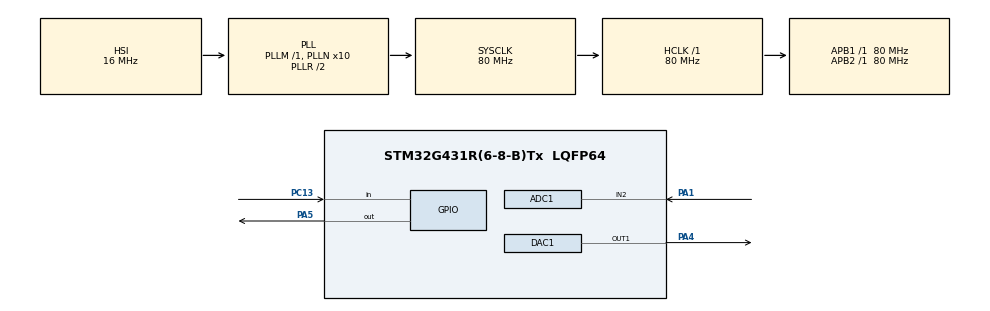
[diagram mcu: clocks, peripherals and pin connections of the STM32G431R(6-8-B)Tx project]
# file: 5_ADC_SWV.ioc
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ADC1.Channel-0\#ChannelRegularConversion=ADC_CHANNEL_2
ADC1.ClockPrescaler=ADC_CLOCK_SYNC_PCLK_DIV4
ADC1.ContinuousConvMode=ENABLE
ADC1.NbrOfConversionFlag=1
ADC1.OffsetNumber-0\#ChannelRegularConversion=ADC_OFFSET_NONE
ADC1.Rank-0\#ChannelRegularConversion=1
ADC1.SamplingTime-0\#ChannelRegularConversion=ADC_SAMPLETIME_2CYCLES_5
ADC1.master=1
DAC1.DAC_Trigger_OUT1-DAC_OUT1=DAC_TRIGGER_T6_TRGO
DAC1.TriangleAmplitude_OUT1-DAC_OUT1=DAC_TRIANGLEAMPLITUDE_1023
DAC1.WaveGeneration_OUT1-DAC_OUT1=TriangleWaveGeneration
Dma.ADC1.0.Direction=DMA_PERIPH_TO_MEMORY
Dma.ADC1.0.EventEnable=DISABLE
Dma.ADC1.0.Instance=DMA1_Channel1
Dma.ADC1.0.MemDataAlignment=DMA_MDATAALIGN_HALFWORD
Dma.ADC1.0.MemInc=DMA_MINC_ENABLE
Dma.ADC1.0.Mode=DMA_NORMAL
Dma.ADC1.0.PeriphDataAlignment=DMA_PDATAALIGN_HALFWORD
Dma.ADC1.0.PeriphInc=DMA_PINC_DISABLE
Dma.ADC1.0.Polarity=HAL_DMAMUX_REQ_GEN_RISING
Dma.ADC1.0.Priority=DMA_PRIORITY_LOW
Dma.ADC1.0.RequestNumber=1
Dma.ADC1.0.SignalID=NONE
Dma.ADC1.0.SyncEnable=DISABLE
Dma.ADC1.0.SyncPolarity=HAL_DMAMUX_SYNC_NO_EVENT
Dma.ADC1.0.SyncRequestNumber=1
Dma.ADC1.0.SyncSignalID=NONE
Dma.Request0=ADC1
Mcu.Family=STM32G4
Mcu.Name=STM32G431R(6-8-B)Tx
Mcu.Package=LQFP64
NVIC.DMA1_Channel1_IRQn=true\:0\:0\:false\:false\:true\:false\:true\:true
NVIC.PriorityGroup=NVIC_PRIORITYGROUP_4
PA1.Mode=IN2-Single-Ended
PA1.Signal=ADC1_IN2
PA13.Mode=Trace_Asynchronous_SW
PA13.Signal=SYS_JTMS-SWDIO
PA14.Mode=Trace_Asynchronous_SW
PA14.Signal=SYS_JTCK-SWCLK
PA4.Signal=COMP_DAC11_group
PA5.Signal=GPIO_Output
PB3.Mode=Trace_Asynchronous_SW
PB3.Signal=SYS_JTDO-SWO
PC13.Signal=GPIO_Input
ProjectManager.HeapSize=0x200
ProjectManager.StackSize=0x400
ProjectManager.TargetToolchain=STM32CubeIDE
RCC.ADC12Freq_Value=80000000
RCC.AHBFreq_Value=80000000
RCC.APB1Freq_Value=80000000
RCC.APB1TimFreq_Value=80000000
RCC.APB2Freq_Value=80000000
RCC.APB2TimFreq_Value=80000000
RCC.CortexFreq_Value=80000000
RCC.EXTERNAL_CLOCK_VALUE=12288000
RCC.HCLKFreq_Value=80000000
RCC.HSE_VALUE=8000000
RCC.HSI48_VALUE=48000000
RCC.HSI_VALUE=16000000
RCC.LSE_VALUE=32768
RCC.PLLN=10
RCC.SYSCLKFreq_VALUE=80000000
RCC.SYSCLKSource=RCC_SYSCLKSOURCE_PLLCLK
RCC.USBFreq_Value=80000000
RCC.VCOOutputFreq_Value=160000000
SH.COMP_DAC11_group.0=DAC1_OUT1,DAC_OUT1
TIM6.PeriodNoDither=9
TIM6.TIM_MasterOutputTrigger=TIM_TRGO_UPDATE
VP_TIM6_VS_ClockSourceINT.Mode=Enable_Timer
board=custom

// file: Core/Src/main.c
/* USER CODE BEGIN Header */
/**
  ******************************************************************************
  * @file           : main.c
  * @brief          : Main program body
  ******************************************************************************
  * @attention
  *
  * Copyright (c) 2023 STMicroelectronics.
  * All rights reserved.
  *
  * This software is licensed under terms that can be found in the LICENSE file
  * in the root directory of this software component.
  * If no LICENSE file comes with this software, it is provided AS-IS.
  *
  ******************************************************************************
  */
/* USER CODE END Header */
#include "main.h"

ADC_HandleTypeDef hadc1;
DMA_HandleTypeDef hdma_adc1;

DAC_HandleTypeDef hdac1;

TIM_HandleTypeDef htim6;

/* USER CODE BEGIN PV */
volatile uint32_t ADC_ConvCpltFlag;
volatile uint16_t ADC_monitor;
uint16_t ADC_buff[4096];

/* USER CODE END PV */

void SystemClock_Config(void);
static void MX_GPIO_Init(void);
static void MX_DMA_Init(void);
static void MX_ADC1_Init(void);
static void MX_DAC1_Init(void);
static void MX_TIM6_Init(void);

/* USER CODE BEGIN 0 */
static void DAC_Ch1_Start(void)
{
  /* Enable DAC channel 2 */
  if(HAL_DAC_Start(&hdac1, DAC_CHANNEL_1) != HAL_OK){
    Error_Handler();
  }

  /* Set DAC channel 2 DHR12RD register */
  if(HAL_DAC_SetValue(&hdac1, DAC_CHANNEL_1, DAC_ALIGN_12B_R, 0x100) != HAL_OK){
    Error_Handler();
  }

  /* Enable TIM peripheral */
  HAL_TIM_Base_Start(&htim6);
}

/* USER CODE END 0 */

int main(void)
{
  /* USER CODE BEGIN 1 */
	uint16_t tmp;

  /* USER CODE END 1 */

  /* MCU Configuration--------------------------------------------------------*/

  /* Reset of all peripherals, Initializes the Flash interface and the Systick. */
  HAL_Init();

  /* Configure the system clock */
  SystemClock_Config();

  /* Initialize all configured peripherals */
  MX_GPIO_Init();
  MX_DMA_Init();
  MX_ADC1_Init();
  MX_DAC1_Init();
  MX_TIM6_Init();
  /* USER CODE BEGIN 2 */
  DAC_Ch1_Start();

  /* USER CODE END 2 */

  /* Infinite loop */
  /* USER CODE BEGIN WHILE */
  while (1)
  {
	  while(HAL_GPIO_ReadPin(GPIOC, GPIO_PIN_13) == GPIO_PIN_RESET){
	    HAL_GPIO_TogglePin(GPIOA, GPIO_PIN_5);
	    HAL_Delay(100);
	  }
	  HAL_GPIO_WritePin(GPIOA, GPIO_PIN_5, GPIO_PIN_RESET);

	  /* Start ADC conversion from PA1 */
	  HAL_ADC_Start_DMA(&hadc1, (uint32_t*)ADC_buff, 4096);
	  while(ADC_ConvCpltFlag == 0);
	  ADC_ConvCpltFlag = 0;

	  /* Display ADC_monitor value using SWV data trace */
	  for(tmp=0;tmp<4096;tmp++){
	    ADC_monitor = *((uint16_t*)ADC_buff+tmp);
	    HAL_Delay(1);
	  }

    /* USER CODE END WHILE */

  }
}

void SystemClock_Config(void)
{
  RCC_OscInitTypeDef RCC_OscInitStruct = {0};
  RCC_ClkInitTypeDef RCC_ClkInitStruct = {0};

  /** Configure the main internal regulator output voltage
  */
  HAL_PWREx_ControlVoltageScaling(PWR_REGULATOR_VOLTAGE_SCALE1);

  /** Initializes the RCC Oscillators according to the specified parameters
  * in the RCC_OscInitTypeDef structure.
  */
  RCC_OscInitStruct.OscillatorType = RCC_OSCILLATORTYPE_HSI;
  RCC_OscInitStruct.HSIState = RCC_HSI_ON;
  RCC_OscInitStruct.HSICalibrationValue = RCC_HSICALIBRATION_DEFAULT;
  RCC_OscInitStruct.PLL.PLLState = RCC_PLL_ON;
  RCC_OscInitStruct.PLL.PLLSource = RCC_PLLSOURCE_HSI;
  RCC_OscInitStruct.PLL.PLLM = RCC_PLLM_DIV1;
  RCC_OscInitStruct.PLL.PLLN = 10;
  RCC_OscInitStruct.PLL.PLLP = RCC_PLLP_DIV2;
  RCC_OscInitStruct.PLL.PLLQ = RCC_PLLQ_DIV2;
  RCC_OscInitStruct.PLL.PLLR = RCC_PLLR_DIV2;
  if (HAL_RCC_OscConfig(&RCC_OscInitStruct) != HAL_OK)
  {
    Error_Handler();
  }

  /** Initializes the CPU, AHB and APB buses clocks
  */
  RCC_ClkInitStruct.ClockType = RCC_CLOCKTYPE_HCLK|RCC_CLOCKTYPE_SYSCLK
                              |RCC_CLOCKTYPE_PCLK1|RCC_CLOCKTYPE_PCLK2;
  RCC_ClkInitStruct.SYSCLKSource = RCC_SYSCLKSOURCE_PLLCLK;
  RCC_ClkInitStruct.AHBCLKDivider = RCC_SYSCLK_DIV1;
  RCC_ClkInitStruct.APB1CLKDivider = RCC_HCLK_DIV1;
  RCC_ClkInitStruct.APB2CLKDivider = RCC_HCLK_DIV1;

  if (HAL_RCC_ClockConfig(&RCC_ClkInitStruct, FLASH_LATENCY_2) != HAL_OK)
  {
    Error_Handler();
  }
}

static void MX_ADC1_Init(void)
{

  ADC_MultiModeTypeDef multimode = {0};
  ADC_ChannelConfTypeDef sConfig = {0};

  /** Common config
  */
  hadc1.Instance = ADC1;
  hadc1.Init.ClockPrescaler = ADC_CLOCK_SYNC_PCLK_DIV4;
  hadc1.Init.Resolution = ADC_RESOLUTION_12B;
  hadc1.Init.DataAlign = ADC_DATAALIGN_RIGHT;
  hadc1.Init.GainCompensation = 0;
  hadc1.Init.ScanConvMode = ADC_SCAN_DISABLE;
  hadc1.Init.EOCSelection = ADC_EOC_SINGLE_CONV;
  hadc1.Init.LowPowerAutoWait = DISABLE;
  hadc1.Init.ContinuousConvMode = ENABLE;
  hadc1.Init.NbrOfConversion = 1;
  hadc1.Init.DiscontinuousConvMode = DISABLE;
  hadc1.Init.ExternalTrigConv = ADC_SOFTWARE_START;
  hadc1.Init.ExternalTrigConvEdge = ADC_EXTERNALTRIGCONVEDGE_NONE;
  hadc1.Init.DMAContinuousRequests = DISABLE;
  hadc1.Init.Overrun = ADC_OVR_DATA_PRESERVED;
  hadc1.Init.OversamplingMode = DISABLE;
  if (HAL_ADC_Init(&hadc1) != HAL_OK)
  {
    Error_Handler();
  }

  /** Configure the ADC multi-mode
  */
  multimode.Mode = ADC_MODE_INDEPENDENT;
  if (HAL_ADCEx_MultiModeConfigChannel(&hadc1, &multimode) != HAL_OK)
  {
    Error_Handler();
  }

  /** Configure Regular Channel
  */
  sConfig.Channel = ADC_CHANNEL_2;
  sConfig.Rank = ADC_REGULAR_RANK_1;
  sConfig.SamplingTime = ADC_SAMPLETIME_2CYCLES_5;
  sConfig.SingleDiff = ADC_SINGLE_ENDED;
  sConfig.OffsetNumber = ADC_OFFSET_NONE;
  sConfig.Offset = 0;
  if (HAL_ADC_ConfigChannel(&hadc1, &sConfig) != HAL_OK)
  {
    Error_Handler();
  }

}

static void MX_DAC1_Init(void)
{

  DAC_ChannelConfTypeDef sConfig = {0};

  /** DAC Initialization
  */
  hdac1.Instance = DAC1;
  if (HAL_DAC_Init(&hdac1) != HAL_OK)
  {
    Error_Handler();
  }

  /** DAC channel OUT1 config
  */
  sConfig.DAC_HighFrequency = DAC_HIGH_FREQUENCY_INTERFACE_MODE_AUTOMATIC;
  sConfig.DAC_DMADoubleDataMode = DISABLE;
  sConfig.DAC_SignedFormat = DISABLE;
  sConfig.DAC_SampleAndHold = DAC_SAMPLEANDHOLD_DISABLE;
  sConfig.DAC_Trigger = DAC_TRIGGER_T6_TRGO;
  sConfig.DAC_Trigger2 = DAC_TRIGGER_NONE;
  sConfig.DAC_OutputBuffer = DAC_OUTPUTBUFFER_ENABLE;
  sConfig.DAC_ConnectOnChipPeripheral = DAC_CHIPCONNECT_EXTERNAL;
  sConfig.DAC_UserTrimming = DAC_TRIMMING_FACTORY;
  if (HAL_DAC_ConfigChannel(&hdac1, &sConfig, DAC_CHANNEL_1) != HAL_OK)
  {
    Error_Handler();
  }

  /** Configure Triangle wave generation on DAC OUT1
  */
  if (HAL_DACEx_TriangleWaveGenerate(&hdac1, DAC_CHANNEL_1, DAC_TRIANGLEAMPLITUDE_1023) != HAL_OK)
  {
    Error_Handler();
  }

}

static void MX_TIM6_Init(void)
{

  TIM_MasterConfigTypeDef sMasterConfig = {0};

  htim6.Instance = TIM6;
  htim6.Init.Prescaler = 0;
  htim6.Init.CounterMode = TIM_COUNTERMODE_UP;
  htim6.Init.Period = 9;
  htim6.Init.AutoReloadPreload = TIM_AUTORELOAD_PRELOAD_DISABLE;
  if (HAL_TIM_Base_Init(&htim6) != HAL_OK)
  {
    Error_Handler();
  }
  sMasterConfig.MasterOutputTrigger = TIM_TRGO_UPDATE;
  sMasterConfig.MasterSlaveMode = TIM_MASTERSLAVEMODE_DISABLE;
  if (HAL_TIMEx_MasterConfigSynchronization(&htim6, &sMasterConfig) != HAL_OK)
  {
    Error_Handler();
  }

}

static void MX_DMA_Init(void)
{

  /* DMA controller clock enable */
  __HAL_RCC_DMAMUX1_CLK_ENABLE();
  __HAL_RCC_DMA1_CLK_ENABLE();

  /* DMA interrupt init */
  /* DMA1_Channel1_IRQn interrupt configuration */
  HAL_NVIC_SetPriority(DMA1_Channel1_IRQn, 0, 0);
  HAL_NVIC_EnableIRQ(DMA1_Channel1_IRQn);

}

static void MX_GPIO_Init(void)
{
  GPIO_InitTypeDef GPIO_InitStruct = {0};

  /* GPIO Ports Clock Enable */
  __HAL_RCC_GPIOC_CLK_ENABLE();
  __HAL_RCC_GPIOA_CLK_ENABLE();
  __HAL_RCC_GPIOB_CLK_ENABLE();

  /*Configure GPIO pin Output Level */
  HAL_GPIO_WritePin(GPIOA, GPIO_PIN_5, GPIO_PIN_RESET);

  /*Configure GPIO pin : PC13 */
  GPIO_InitStruct.Pin = GPIO_PIN_13;
  GPIO_InitStruct.Mode = GPIO_MODE_INPUT;
  GPIO_InitStruct.Pull = GPIO_NOPULL;
  HAL_GPIO_Init(GPIOC, &GPIO_InitStruct);

  /*Configure GPIO pin : PA5 */
  GPIO_InitStruct.Pin = GPIO_PIN_5;
  GPIO_InitStruct.Mode = GPIO_MODE_OUTPUT_PP;
  GPIO_InitStruct.Pull = GPIO_NOPULL;
  GPIO_InitStruct.Speed = GPIO_SPEED_FREQ_LOW;
  HAL_GPIO_Init(GPIOA, &GPIO_InitStruct);

}

/* USER CODE BEGIN 4 */
void HAL_ADC_ConvCpltCallback(ADC_HandleTypeDef* hadc)
{
  ADC_ConvCpltFlag = 1;
}

/* USER CODE END 4 */

void Error_Handler(void)
{
  __disable_irq();
  while (1)
  {
  }
}
